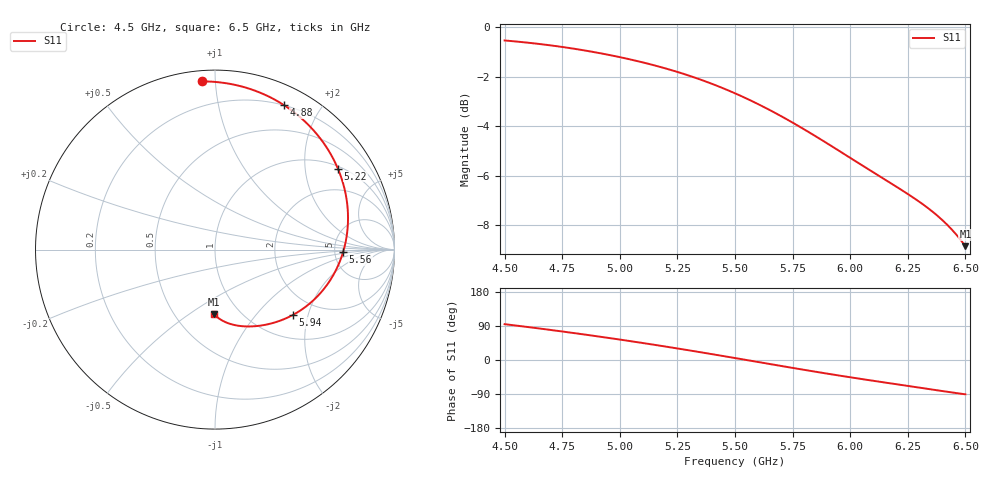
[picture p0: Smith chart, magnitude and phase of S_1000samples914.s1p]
! TOUCHSTONE file generated by CST MICROWAVE STUDIO
! Date and time: Sat Oct 29 19:00:55 2022
! Project name: L.cst
! Parameters = {Di=1.27; Epsilon_r=1.56; InnerDiameter=1.27; Length=2; Lf=10; Lg=60; OuterConductorThickness=0.2921; OuterDiameter=3.6; Wf=3; Wp=41.2; de=1.5; df=6.8; g=0.8; gx=2.3634; gy=4.87388; h=2.34; hf=1.524; px=12.038; py=13.5332; w=9.7; wx=9.67464; wy=8.65928}
! Header version: 2018
! Port assignment regex: !\s*Touchstone port\s*([0-9]+)\s*=\s*(CST MWS port|CST DS port)\s*([0-9]+|Zmin|Zmax)\s*\(\"(.*)\"\)(\s*mode\s*([0-9]+))?.*
! Touchstone port assignment:
! Touchstone port 1 = CST MWS port 1 ("")
# GHz S DB R 50
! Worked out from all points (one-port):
!   101 points, 4.5 GHz to 6.5 GHz, reference 50 ohm
!   lowest |S11| = -8.8 dB at 6.5 GHz (marker M1), VSWR 2.13, Z = 38.2 - j31.8 ohm
!   |S11| at or under -10 dB: nowhere
!   S11 on the Smith chart (normalised r, x): 4.5 GHz: 0.06, +0.92; 4.88 GHz: 0.20, +1.57; 5.22 GHz: 1.08, +2.98; 5.56 GHz: 5.97, -0.33; 5.94 GHz: 1.51, -1.61; 6.5 GHz: 0.76, -0.64
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4.5  -0.54 94.5
4.58  -0.61 88.6
4.64  -0.67 84.0
4.7  -0.74 79.3
4.76  -0.81 74.4
4.82  -0.90 69.5
4.88  -0.99 64.4
4.94  -1.10 59.2
5  -1.21 53.9
5.12  -1.47 42.9
5.22  -1.73 33.4
5.26  -1.84 29.5
5.32  -2.02 23.5
5.38  -2.22 17.5
5.44  -2.44 11.3
5.5  -2.67 5.2
5.56  -2.93 -1.1
5.66  -3.39 -11.5
5.76  -3.91 -21.8
5.84  -4.35 -30.0
5.94  -4.93 -39.8
6  -5.28 -45.6
6.12  -5.98 -56.7
6.2  -6.44 -63.9
6.26  -6.80 -69.3
6.38  -7.63 -80.1
6.44  -8.16 -85.5
6.5  -8.85 -90.6
